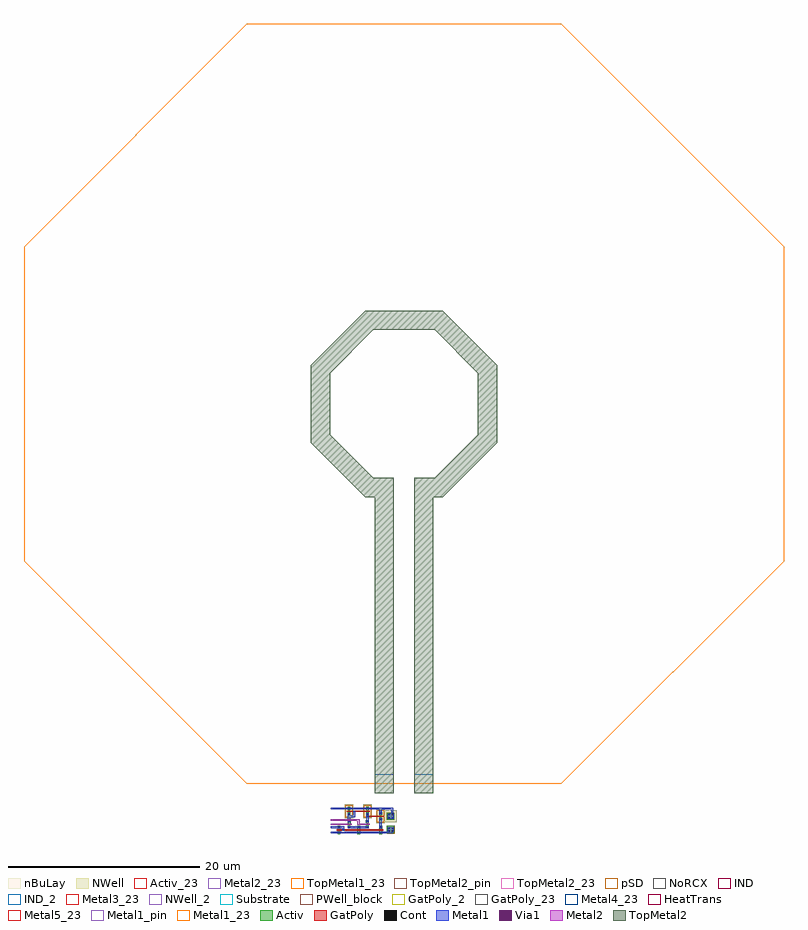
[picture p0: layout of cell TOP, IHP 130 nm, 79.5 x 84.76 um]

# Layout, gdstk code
from math import pi, radians
import gdstk
lib = gdstk.Library(unit=1e-6, precision=1e-09)
def R(c, l, rs):  # rectangles x0, y0, x1, y1
    for r in rs: c.add(gdstk.rectangle(r[:2], r[2:], *l))
def P(c, l, *ps):  # polygons
    for p in ps: c.add(gdstk.Polygon(p, *l))
Activ = (1, 0)
Activ_23 = (1, 23)
GatPoly = (5, 0)
GatPoly_2 = (5, 2)
GatPoly_23 = (5, 23)
Cont = (6, 0)
Metal1 = (8, 0)
Metal1_pin = (8, 2)
Metal1_23 = (8, 23)
Metal2 = (10, 0)
Metal2_23 = (10, 23)
pSD = (14, 0)
Via1 = (19, 0)
IND = (27, 0)
IND_2 = (27, 2)
Metal3_23 = (30, 23)
NWell = (31, 0)
NWell_2 = (31, 2)
nBuLay = (32, 0)
Substrate = (40, 0)
PWell_block = (46, 21)
Metal4_23 = (50, 23)
HeatTrans = (51, 0)
Metal5_23 = (67, 23)
TopMetal1_23 = (126, 23)
TopMetal2 = (134, 0)
TopMetal2_pin = (134, 2)
TopMetal2_23 = (134, 23)
NoRCX = (148, 0)

nmos = lib.new_cell('nmos')
R(nmos, Activ, [(0,0,0.3,0.3), (0.57,0,0.87,0.3), (0,0.075,0.87,0.225)])
R(nmos, GatPoly, [(0.37,-0.105,0.5,0.405)])
R(nmos, GatPoly_2, [(0.37,-0.105,0.5,0.405)])
R(nmos, Cont, [(0.07,0.07,0.23,0.23), (0.64,0.07,0.8,0.23)])
R(nmos, Metal1, [(0.07,0.02,0.23,0.28), (0.64,0.02,0.8,0.28)])
R(nmos, Metal1_pin, [(0.07,0.02,0.23,0.28), (0.64,0.02,0.8,0.28)])
R(nmos, HeatTrans, [(0.37,-0.105,0.5,0.405)])
nmos.add(gdstk.Label('nmos', (0.435,0.15), layer=63, texttype=0))
nmos.add(gdstk.Label('nmos', (0.435,0.15), layer=51, texttype=0))

pmos = lib.new_cell('pmos')
R(pmos, Activ, [(0,0,0.3,0.3), (0.57,0,0.87,0.3), (0,0.075,0.87,0.225)])
R(pmos, GatPoly, [(0.37,-0.105,0.5,0.405), (0.37,-0.105,0.5,0.405)])
R(pmos, Cont, [(0.07,0.07,0.23,0.23), (0.64,0.07,0.8,0.23)])
R(pmos, Metal1, [(0.07,0.02,0.23,0.28), (0.07,0.02,0.23,0.28), (0.64,0.02,0.8,0.28), (0.64,0.02,0.8,0.28)])
R(pmos, pSD, [(-0.18,-0.225,1.05,0.525)])
R(pmos, NWell, [(-0.31,-0.31,1.18,0.61)])
R(pmos, Substrate, [(0.57,0,0.87,0.3)])
R(pmos, HeatTrans, [(0.37,-0.105,0.5,0.405)])
pmos.add(gdstk.Label('pmos', (0.435,0.15), layer=63, texttype=0))
pmos.add(gdstk.Label('pmos', (0.435,0.15), layer=51, texttype=0))

ntap1 = lib.new_cell('ntap1')
R(ntap1, Activ, [(0,0,0.78,0.78)])
R(ntap1, Cont, [(0.14,0.14,0.3,0.3), (0.48,0.14,0.64,0.3), (0.14,0.48,0.3,0.64), (0.48,0.48,0.64,0.64)])
R(ntap1, Metal1, [(0.14,0.09,0.64,0.69)])
R(ntap1, Metal1_pin, [(0.14,0.09,0.64,0.69), (0.14,0.14,0.64,0.64)])
R(ntap1, NWell, [(-0.24,-0.24,1.02,1.02), (0,0,0.78,0.78)])
R(ntap1, NWell_2, [(0,0,0.78,0.78)])
R(ntap1, nBuLay, [(-0.24,-0.24,1.02,1.02)])
ntap1.add(gdstk.Label('well', (0.39,0.01), layer=63, texttype=0))
ntap1.add(gdstk.Label('well', (0.39,0.01), layer=31, texttype=0))

ptap1 = lib.new_cell('ptap1')
R(ptap1, Activ, [(0,0,0.78,0.78)])
R(ptap1, Cont, [(0.14,0.14,0.3,0.3), (0.48,0.14,0.64,0.3), (0.14,0.48,0.3,0.64), (0.48,0.48,0.64,0.64)])
R(ptap1, Metal1, [(0.14,0.09,0.64,0.69), (0.14,0.14,0.64,0.64)])
R(ptap1, Metal1_pin, [(0.14,0.14,0.64,0.64)])
R(ptap1, pSD, [(-0.03,-0.03,0.81,0.81)])
R(ptap1, Substrate, [(0,0,0.78,0.78)])
ptap1.add(gdstk.Label('sub!', (0.39,0.01), layer=63, texttype=0))
ptap1.add(gdstk.Label('sub!', (0.39,0.01), layer=40, texttype=0))

inductor2 = lib.new_cell('inductor2')
P(inductor2, Activ_23, [(-16.46,0),(-39.75,23.29),(-39.75,56.21),(-16.46,79.5),(16.46,79.5),(39.75,56.21),(39.75,23.29),(16.46,0)])
P(inductor2, GatPoly_23, [(-16.46,0),(-39.75,23.29),(-39.75,56.21),(-16.46,79.5),(16.46,79.5),(39.75,56.21),(39.75,23.29),(16.46,0)])
P(inductor2, Metal1_23, [(-16.46,0),(-39.75,23.29),(-39.75,56.21),(-16.46,79.5),(16.46,79.5),(39.75,56.21),(39.75,23.29),(16.46,0)])
P(inductor2, Metal2_23, [(-16.46,0),(-39.75,23.29),(-39.75,56.21),(-16.46,79.5),(16.46,79.5),(39.75,56.21),(39.75,23.29),(16.46,0)])
P(inductor2, IND, [(-16.46,0),(-39.75,23.29),(-39.75,56.21),(-16.46,79.5),(16.46,79.5),(39.75,56.21),(39.75,23.29),(16.46,0)])
R(inductor2, IND_2, [(-3.05,-1,-1.05,1), (1.05,-1,3.05,1)])
P(inductor2, Metal3_23, [(-16.46,0),(-39.75,23.29),(-39.75,56.21),(-16.46,79.5),(16.46,79.5),(39.75,56.21),(39.75,23.29),(16.46,0)])
P(inductor2, PWell_block, [(-16.46,0),(-39.75,23.29),(-39.75,56.21),(-16.46,79.5),(16.46,79.5),(39.75,56.21),(39.75,23.29),(16.46,0)])
P(inductor2, Metal4_23, [(-16.46,0),(-39.75,23.29),(-39.75,56.21),(-16.46,79.5),(16.46,79.5),(39.75,56.21),(39.75,23.29),(16.46,0)])
P(inductor2, Metal5_23, [(-16.46,0),(-39.75,23.29),(-39.75,56.21),(-16.46,79.5),(16.46,79.5),(39.75,56.21),(39.75,23.29),(16.46,0)])
P(inductor2, TopMetal1_23, [(-16.46,0),(-39.75,23.29),(-39.75,56.21),(-16.46,79.5),(16.46,79.5),(39.75,56.21),(39.75,23.29),(16.46,0)])
R(inductor2, TopMetal2, [(-3.35,47.48,3.35,49.48)])
P(inductor2, TopMetal2, [(1.05,30),(1.05,32),(3.205,32),(7.74,36.535),(7.74,42.945),(3.205,47.48),(3.35,47.48),(3.35,49.48),(4.04,49.48),(9.74,43.78),(9.74,35.7),(4.04,30)],
  [(-4.04,30),(-9.74,35.7),(-9.74,43.78),(-4.04,49.48),(-3.35,49.48),(-3.35,47.48),(-3.205,47.48),(-7.74,42.945),(-7.74,36.535),(-3.205,32),(-1.05,32),(-1.05,30)])
R(inductor2, TopMetal2_pin, [(-3.05,-1,-1.05,1), (1.05,-1,3.05,1)])
P(inductor2, TopMetal2_23, [(-16.46,0),(-39.75,23.29),(-39.75,56.21),(-16.46,79.5),(16.46,79.5),(39.75,56.21),(39.75,23.29),(16.46,0)])
P(inductor2, NoRCX, [(-16.46,0),(-39.75,23.29),(-39.75,56.21),(-16.46,79.5),(16.46,79.5),(39.75,56.21),(39.75,23.29),(16.46,0)])
inductor2.add(gdstk.FlexPath([(2.05,-1),(2.05,32)], 2, ends="flush", simple_path=True, layer=134, datatype=0))  # TopMetal2
inductor2.add(gdstk.FlexPath([(-2.05,-1),(-2.05,32)], 2, ends="flush", simple_path=True, layer=134, datatype=0))  # TopMetal2
inductor2.add(gdstk.Label('inductor2', (0,39.183), layer=63, texttype=0))
inductor2.add(gdstk.Label('  width=2.0\n  space=2.1\n  diameter=15.48\n  turns=1', (-39.75,32.56), layer=63, texttype=0))
inductor2.add(gdstk.Label('LB', (2.05,0), layer=27, texttype=25))
inductor2.add(gdstk.Label('LA', (-2.05,0), layer=27, texttype=25))

top = lib.new_cell('TOP')
R(top, GatPoly, [(2.09,0.345,4.68,0.475), (4.68,0.345,6.97,0.475), (5.19,1.785,6.955,1.915), (3.14,2.315,5.58,2.445)])
R(top, Cont, [(2.71,0.35,2.885,0.47), (3.28,0.955,3.525,1.06), (5.18,0.955,5.45,1.065), (5.19,1.785,5.455,1.915), (3.835,2.325,4.055,2.435)])
R(top, Metal1, [(1.485,0.045,6.845,0.205), (3.285,0.615,5.45,0.8), (6.57,0.615,6.845,1.645), (3.28,0.955,3.525,1.06), (5.18,0.955,5.45,1.065), (3.265,1.21,3.545,2.175), (5.19,1.215,5.455,2.175), (1.485,2.585,2.215,2.745), (2.215,2.585,5.455,2.745)])
P(top, Metal1, [(6.57,2.055),(6.57,2.585),(5.455,2.585),(5.455,2.745),(6.83,2.745),(6.83,2.055)],
  [(3.545,1.76),(3.545,1.945),(3.82,1.945),(3.82,2.445),(4.065,2.445),(4.065,1.76)],
  [(2.705,0.345),(2.705,0.615),(1.48,0.615),(1.48,0.775),(2.89,0.775),(2.89,0.345)],
  [(7.82,1.935),(7.82,2.585),(6.83,2.585),(6.83,2.745),(8.045,2.745),(8.045,1.935)],
  [(6.585,0.045),(6.585,0.205),(7.67,0.205),(7.67,0.27),(7.915,0.27),(7.915,0.045)])
R(top, Metal2, [(1.48,0.94,3.67,1.07), (4.24,1.365,4.51,1.54)])
P(top, Metal2, [(4.24,0.945),(5.575,0.945),(5.575,1.075),(4.51,1.075),(4.51,1.365),(1.48,1.365),(1.48,1.54),(4.24,1.54)])
R(top, Via1, [(3.28,0.955,3.525,1.06), (5.18,0.955,5.45,1.065)])
top.add(gdstk.Reference(nmos, (3.265,1.44), rotation=3*pi/2))
top.add(gdstk.Reference(nmos, (5.17,1.445), rotation=3*pi/2))
top.add(gdstk.Reference(nmos, (4.575,-0.025), rotation=pi/2))
top.add(gdstk.Reference(nmos, (6.865,-0.025), rotation=pi/2))
top.add(gdstk.Reference(nmos, (2.495,-0.025), rotation=pi/2))
top.add(gdstk.Reference(pmos, (3.245,2.815), rotation=3*pi/2))
top.add(gdstk.Reference(pmos, (5.175,2.815), rotation=3*pi/2))
top.add(gdstk.Reference(pmos, (6.55,2.285), rotation=3*pi/2))
top.add(gdstk.Reference(ntap1, (7.365,2.235), rotation=3*pi/2))
top.add(gdstk.Reference(ptap1, (7.37,0.845), rotation=3*pi/2))
top.add(gdstk.Reference(inductor2, (9.15,5.235)))

lib.write_gds('TOP.gds')
